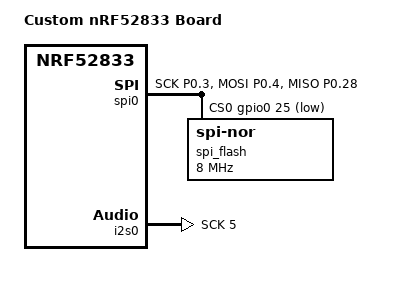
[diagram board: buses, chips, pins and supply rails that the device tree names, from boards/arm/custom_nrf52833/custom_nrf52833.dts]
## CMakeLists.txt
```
# Top-level CMakeLists.txt

cmake_minimum_required(VERSION 3.20.0)

find_package(Zephyr REQUIRED HINTS $ENV{ZEPHYR_BASE})
project(extreme_alarm)

target_sources(app PRIVATE src/main.c src/flash_utils.c)
```

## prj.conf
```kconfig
#prj.conf

# General Configuration
CONFIG_MAIN_STACK_SIZE=4096
CONFIG_SYSTEM_WORKQUEUE_STACK_SIZE=4096

# Logging
CONFIG_LOG=y
CONFIG_LOG_DEFAULT_LEVEL=3
CONFIG_USE_SEGGER_RTT=y
CONFIG_LOG_BACKEND_RTT=y

# RTT
CONFIG_UART_CONSOLE=n
CONFIG_RTT_CONSOLE=n
CONFIG_SEGGER_RTT_BUFFER_SIZE_UP=1024
CONFIG_SEGGER_RTT_BUFFER_SIZE_DOWN=1024
CONFIG_SEGGER_RTT_MODE_NO_BLOCK_SKIP=y

# Console Redirection
CONFIG_CONSOLE=y
CONFIG_PRINTK=y

# SPI Flash
CONFIG_SPI=y
CONFIG_SPI_NRFX=y
CONFIG_FLASH=y
CONFIG_FLASH_PAGE_LAYOUT=y
CONFIG_FLASH_MAP=y

# Enable SPI NOR Flash
CONFIG_SPI_NOR=y
CONFIG_SPI_NOR_IDLE_IN_DPD=n
CONFIG_SPI_NOR_SFDP_MINIMAL=y

# I2S Configuration
CONFIG_I2S=y
CONFIG_I2S_NRFX=y

# Disable Unnecessary Features
CONFIG_BT=n
CONFIG_SERIAL=n

# Debugging and Firmware Update
CONFIG_BOOTLOADER_MCUBOOT=n
CONFIG_MCUMGR=n
```

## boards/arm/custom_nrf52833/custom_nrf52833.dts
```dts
// custom_nrf52833.dts

/dts-v1/;
#include <nordic/nrf52833_qiaa.dtsi>

/ {
    model = "Custom nRF52833 Board";
    compatible = "nordic,nrf52833-qiaa";

    chosen {
        zephyr,console = &uart0;
    };

    aliases {
        spi0 = &spi0;
        spi-flash = &spi_flash;
        i2s0 = &i2s0;
    };
};

&pinctrl {
    spi0_default: spi0_default {
        group1 {
            psels = <NRF_PSEL(SPIM_SCK, 0, 3)>,   // P0.03 for SCK
                    <NRF_PSEL(SPIM_MOSI, 0, 4)>,  // P0.04 for MOSI
                    <NRF_PSEL(SPIM_MISO, 0, 28)>; // P0.28 for MISO
        };
    };

    i2s0_default: i2s0_default {
        group1 {
            psels = <5>,   // P0.05 for SCK
                    <6>,   // P0.06 for LRCK
                    <7>;   // P0.07 for SDOUT
        };
    };
};

&spi0 {
    status = "okay";
    pinctrl-0 = <&spi0_default>;
    pinctrl-names = "default";

    cs-gpios = <&gpio0 25 GPIO_ACTIVE_LOW>; // CS (P0.25)

    spi_flash: flash@0 {
        compatible = "jedec,spi-nor";
        reg = <0>;
        spi-max-frequency = <8000000>; // Adjust as needed
    };
};

&i2s0 {
    status = "okay";
    pinctrl-0 = <&i2s0_default>;
    pinctrl-names = "default";

    sck-pin = <5>;         // P0.05
    lrck-pin = <6>;        // P0.06
    sdin-pin = <0xffffffff>; // Not used
    sdout-pin = <7>;       // P0.07
    mck-pin = <0xffffffff>;  // Not used
    clock-source = <0>;    // Optional: Remove if not required
    ratio = <64>;          // I2S ratio (64x)
    format = <1>;          // Standard I2S format
    alignment = <0>;       // Left alignment
    channels = <1>;        // Single channel (left)
    width = <16>;          // 16-bit word size
};
```

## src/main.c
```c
// main.c

#include <zephyr.h>
#include <device.h>
#include <drivers/flash.h>
#include <drivers/i2s.h>
#include <logging/log.h>
#include <SEGGER_RTT.h>
#include "flash_utils.h"

LOG_MODULE_REGISTER(main);

#define SPI_FLASH_LABEL DT_LABEL(DT_NODELABEL(spi_flash))
#define RTT_BUFFER_INDEX 0
#define BUFFER_SIZE 256
#define FLASH_BASE_OFFSET 0x00000000
#define FLASH_SIZE (4 * 1024 * 1024)  // 4MB Flash size

void main(void)
{
    const struct device *flash_dev;
    int ret;
    size_t audio_data_size = 0;

    LOG_INF("Starting audio upload and playback...");

    // Initialize RTT
    SEGGER_RTT_Init();

    // Get SPI flash device binding
    flash_dev = device_get_binding(SPI_FLASH_LABEL);
    if (!flash_dev) {
        LOG_ERR("Cannot find SPI flash device");
        return;
    }

    // Erase flash memory
    LOG_INF("Erasing flash memory...");
    ret = flash_erase(flash_dev, FLASH_BASE_OFFSET, FLASH_SIZE);
    if (ret != 0) {
        LOG_ERR("Flash erase failed: %d", ret);
        return;
    }
    LOG_INF("Flash memory erased.");

    // Upload audio data via RTT
    LOG_INF("Uploading audio data...");
    ret = upload_audio_to_flash(flash_dev, RTT_BUFFER_INDEX, FLASH_BASE_OFFSET, FLASH_SIZE, BUFFER_SIZE, &audio_data_size);
    if (ret != 0) {
        LOG_ERR("Audio upload failed: %d", ret);
        return;
    }
    LOG_INF("Audio upload completed. Total size: %d bytes", audio_data_size);

    // Play audio from flash
    LOG_INF("Playing audio from flash...");
    ret = play_audio_from_flash(flash_dev, FLASH_BASE_OFFSET, audio_data_size, BUFFER_SIZE);
    if (ret != 0) {
        LOG_ERR("Audio playback failed: %d", ret);
    }
    LOG_INF("Audio playback completed.");
}
```

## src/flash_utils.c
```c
// flash_utils.c

#include <zephyr.h>
#include <device.h>
#include <drivers/flash.h>
#include <drivers/i2s.h>
#include <logging/log.h>
#include <SEGGER_RTT.h>
#include "flash_utils.h"

LOG_MODULE_REGISTER(flash_utils);

int upload_audio_to_flash(const struct device *flash_dev, int rtt_index, off_t offset, size_t max_size, size_t buffer_size, size_t *total_size)
{
    uint8_t buffer[BUFFER_SIZE];
    size_t bytes_received;
    size_t total_written = 0;

    while (total_written < max_size) {
        bytes_received = SEGGER_RTT_Read(rtt_index, buffer, buffer_size);

        if (bytes_received > 0) {
            // Check for end-of-data signal
            if (bytes_received == 3 && memcmp(buffer, "END", 3) == 0) {
                LOG_INF("End of data received.");
                break;
            }

            // Write to flash
            int ret = flash_write(flash_dev, offset + total_written, buffer, bytes_received);
            if (ret != 0) {
                LOG_ERR("Flash write failed at offset 0x%08x: %d", (uint32_t)(offset + total_written), ret);
                return ret;
            }

            total_written += bytes_received;
            LOG_INF("Received and wrote %d bytes. Total: %d bytes.", bytes_received, total_written);
        } else {
            k_sleep(K_MSEC(10));
        }
    }

    *total_size = total_written;
    return 0;
}

int play_audio_from_flash(const struct device *flash_dev, off_t offset, size_t audio_size, size_t buffer_size)
{
    uint8_t buffer[BUFFER_SIZE];
    const struct device *i2s_dev;
    int ret;

    i2s_dev = device_get_binding(DT_LABEL(DT_NODELABEL(i2s0)));
    if (!i2s_dev) {
        LOG_ERR("Cannot find I2S device");
        return -ENODEV;
    }

    struct i2s_config i2s_cfg = {
        .word_size = 16,
        .channels = 1,
        .format = I2S_FMT_DATA_FORMAT_I2S,
        .options = I2S_OPT_FRAME_CLK_MASTER | I2S_OPT_BIT_CLK_MASTER,
        .frame_clk_freq = 22050,
        .block_size = buffer_size,
        .mem_slab = NULL,
        .timeout = 2000,
    };

    ret = i2s_configure(i2s_dev, I2S_DIR_TX, &i2s_cfg);
    if (ret != 0) {
        LOG_ERR("I2S configuration failed: %d", ret);
        return ret;
    }

    ret = i2s_trigger(i2s_dev, I2S_DIR_TX, I2S_TRIGGER_START);
    if (ret != 0) {
        LOG_ERR("I2S start failed: %d", ret);
        return ret;
    }

    size_t bytes_read = 0;
    while (bytes_read < audio_size) {
        size_t read_size = MIN(buffer_size, audio_size - bytes_read);

        ret = flash_read(flash_dev, offset + bytes_read, buffer, read_size);
        if (ret != 0) {
            LOG_ERR("Flash read failed at offset 0x%08x: %d", (uint32_t)(offset + bytes_read), ret);
            break;
        }

        struct i2s_buf buf = {
            .buf = buffer,
            .len = read_size,
            .timeout = K_FOREVER,
        };

        ret = i2s_write(i2s_dev, &buf);
        if (ret != 0) {
            LOG_ERR("I2S write failed: %d", ret);
            break;
        }

        bytes_read += read_size;
    }

    i2s_trigger(i2s_dev, I2S_DIR_TX, I2S_TRIGGER_STOP);
    return 0;
}
```

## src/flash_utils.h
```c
// flash_utils.h

#ifndef FLASH_UTILS_H
#define FLASH_UTILS_H

#include <device.h>
#include <stddef.h>

int upload_audio_to_flash(const struct device *flash_dev, int rtt_index, off_t offset, size_t max_size, size_t buffer_size, size_t *total_size);
int play_audio_from_flash(const struct device *flash_dev, off_t offset, size_t audio_size, size_t buffer_size);

#endif // FLASH_UTILS_H
```
